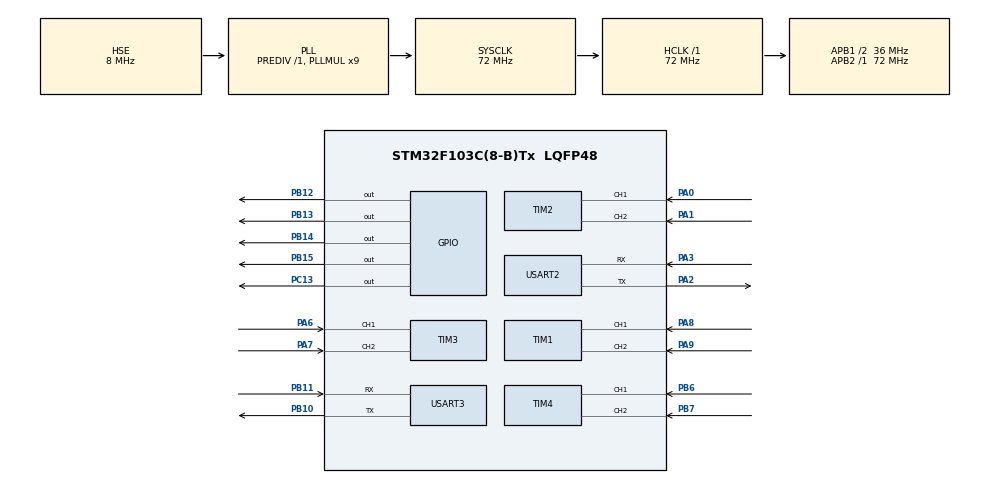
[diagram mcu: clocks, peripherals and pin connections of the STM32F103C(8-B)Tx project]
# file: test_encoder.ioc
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Mcu.Family=STM32F1
Mcu.Name=STM32F103C(8-B)Tx
Mcu.Package=LQFP48
NVIC.PriorityGroup=NVIC_PRIORITYGROUP_4
NVIC.TIM1_BRK_IRQn=true\:0\:0\:false\:false\:true\:true\:true\:true
NVIC.TIM1_CC_IRQn=true\:0\:0\:false\:false\:true\:true\:true\:true
NVIC.TIM1_TRG_COM_IRQn=true\:0\:0\:false\:false\:true\:true\:true\:true
NVIC.TIM1_UP_IRQn=true\:0\:0\:false\:false\:true\:true\:true\:true
NVIC.TIM2_IRQn=true\:0\:0\:false\:false\:true\:true\:true\:true
NVIC.TIM3_IRQn=true\:0\:0\:false\:false\:true\:true\:true\:true
NVIC.TIM4_IRQn=true\:0\:0\:false\:false\:true\:true\:true\:true
NVIC.USART2_IRQn=true\:0\:0\:false\:false\:true\:true\:true\:true
NVIC.USART3_IRQn=true\:0\:0\:false\:false\:true\:true\:true\:true
PA0-WKUP.Signal=S_TIM2_CH1_ETR
PA1.Signal=S_TIM2_CH2
PA13.Mode=Serial_Wire
PA13.Signal=SYS_JTMS-SWDIO
PA14.Mode=Serial_Wire
PA14.Signal=SYS_JTCK-SWCLK
PA2.Mode=Asynchronous
PA2.Signal=USART2_TX
PA3.Mode=Asynchronous
PA3.Signal=USART2_RX
PA6.Signal=S_TIM3_CH1
PA7.Signal=S_TIM3_CH2
PA8.Signal=S_TIM1_CH1
PA9.Signal=S_TIM1_CH2
PB10.Mode=Asynchronous
PB10.Signal=USART3_TX
PB11.Mode=Asynchronous
PB11.Signal=USART3_RX
PB12.Signal=GPIO_Output
PB13.Signal=GPIO_Output
PB14.Signal=GPIO_Output
PB15.Signal=GPIO_Output
PB6.Signal=S_TIM4_CH1
PB7.Signal=S_TIM4_CH2
PC13-TAMPER-RTC.Signal=GPIO_Output
PD0-OSC_IN.Mode=HSE-External-Oscillator
PD0-OSC_IN.Signal=RCC_OSC_IN
PD1-OSC_OUT.Mode=HSE-External-Oscillator
PD1-OSC_OUT.Signal=RCC_OSC_OUT
ProjectManager.HeapSize=0x200
ProjectManager.StackSize=0x400
ProjectManager.TargetToolchain=STM32CubeIDE
RCC.AHBFreq_Value=72000000
RCC.APB1CLKDivider=RCC_HCLK_DIV2
RCC.APB1Freq_Value=36000000
RCC.APB1TimFreq_Value=72000000
RCC.APB2Freq_Value=72000000
RCC.APB2TimFreq_Value=72000000
RCC.HCLKFreq_Value=72000000
RCC.PLLMUL=RCC_PLL_MUL9
RCC.PLLSourceVirtual=RCC_PLLSOURCE_HSE
RCC.SYSCLKFreq_VALUE=72000000
RCC.SYSCLKSource=RCC_SYSCLKSOURCE_PLLCLK
RCC.USBFreq_Value=72000000
SH.S_TIM1_CH1.0=TIM1_CH1,Encoder_Interface
SH.S_TIM1_CH2.0=TIM1_CH2,Encoder_Interface
SH.S_TIM2_CH1_ETR.0=TIM2_CH1,Encoder_Interface
SH.S_TIM2_CH2.0=TIM2_CH2,Encoder_Interface
SH.S_TIM3_CH1.0=TIM3_CH1,Encoder_Interface
SH.S_TIM3_CH2.0=TIM3_CH2,Encoder_Interface
SH.S_TIM4_CH1.0=TIM4_CH1,Encoder_Interface
SH.S_TIM4_CH2.0=TIM4_CH2,Encoder_Interface
TIM1.EncoderMode=TIM_ENCODERMODE_TI12
TIM2.EncoderMode=TIM_ENCODERMODE_TI12
TIM3.EncoderMode=TIM_ENCODERMODE_TI12
TIM4.EncoderMode=TIM_ENCODERMODE_TI12
USART2.VirtualMode=VM_ASYNC
USART3.VirtualMode=VM_ASYNC
board=custom

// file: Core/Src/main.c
/* USER CODE BEGIN Header */
/**
  ******************************************************************************
  * @file           : main.c
  * @brief          : Main program body
  ******************************************************************************
  * @attention
  *
  * Copyright (c) 2023 STMicroelectronics.
  * All rights reserved.
  *
  * This software is licensed under terms that can be found in the LICENSE file
  * in the root directory of this software component.
  * If no LICENSE file comes with this software, it is provided AS-IS.
  *
  ******************************************************************************
  */
/* USER CODE END Header */
#include "main.h"

/* USER CODE BEGIN PTD */
typedef struct
{
	uint16_t pwm;
	uint16_t angle;
	uint32_t desired_value;
}M_axis_t;
/* USER CODE END PTD */

/* USER CODE BEGIN PD */
#define NUM_OFFSET                                   (48U)
#define LETTER_OFFSET                                (55U)
#define FRAME_SIZE                                   (26U)
/* USER CODE END PD */

TIM_HandleTypeDef htim1;
TIM_HandleTypeDef htim2;
TIM_HandleTypeDef htim3;
TIM_HandleTypeDef htim4;

UART_HandleTypeDef huart2;
UART_HandleTypeDef huart3;

/* USER CODE BEGIN PV */
uint8_t buff[50];
int idx = 0;
M_axis_t axis1 = {0};
M_axis_t axis2 = {0};
M_axis_t axis3 = {0};
M_axis_t axis4 = {0};

uint32_t counter1 = 0;
uint32_t counter2 = 0;
uint32_t counter3 = 0;
uint32_t counter4 = 0;

int16_t count1 = 0;
int16_t count2 = 0;
int16_t count3 = 0;
int16_t count4 = 0;
/* USER CODE END PV */

void SystemClock_Config(void);
static void MX_GPIO_Init(void);
static void MX_TIM2_Init(void);
static void MX_TIM1_Init(void);
static void MX_TIM3_Init(void);
static void MX_TIM4_Init(void);
static void MX_USART2_UART_Init(void);
static void MX_USART3_UART_Init(void);

/* USER CODE BEGIN 0 */

static uint32_t stringToDec(char *data, int size)
{
    int i = 0;
    int j = 0;
    uint32_t decNum = 0;
    /*Convert all data to hex*/
    for (i = 0; i < size; i++)
    {
        if ((*(data + i) >= '0') && (*(data + i) <= '9'))
            *(data + i) = *(data + i) - 48;
        else if ((*(data + i) >= 'A') && (*(data + i) <= 'F'))
            *(data + i) = *(data + i) - 55;
        else
        {
            return 0;
        }
    }
    while (size--)
    {
        decNum += *(data + size) * (uint32_t)pow(10,j);
        j++;
    }
    return decNum;
}
static void pwm_handler(TIM_HandleTypeDef *htim, M_axis_t *axis, uint8_t axis_num, uint16_t encoder_val)
{
	uint16_t axis_pin_num = 0;
	/*PB12,13,14,15*/
/*PWM*/
//			HAL_TIM_PWM_Start (&htim1, TIM_CHANNEL_2);
//		/*1300 ~ 360 degree*/
//		if (desired_value != 0)
//		{
//				if(encoder_cnt > desired_value)
//				{
//					encoder_pre_cnt = encoder_cnt;

//					__HAL_TIM_SET_COMPARE(&htim1,TIM_CHANNEL_2,0);
//					desired_value = 0;
//					__HAL_TIM_SET_COUNTER(&htim2, 0);
//				}
//				else
//				{
//					__HAL_TIM_SET_COMPARE(&htim1,TIM_CHANNEL_2,50);
//				}
//		}
	switch (axis_num) {
		case 1:
			axis_pin_num = GPIO_PIN_12;
			break;
		case 2:
			axis_pin_num = GPIO_PIN_13;
			break;
		case 3:
			axis_pin_num = GPIO_PIN_14;
			break;
		case 4:
			axis_pin_num = GPIO_PIN_15;
			break;
		default:
			break;
	}

	HAL_GPIO_WritePin(GPIOB, axis_pin_num, SET);

	/*1300 ~ 360 degree*/
	if (axis->desired_value != 0)
	{
			if(encoder_val > axis->desired_value)
			{
//				encoder_pre_cnt = encoder_cnt;

				HAL_GPIO_WritePin(GPIOB,axis_pin_num, RESET);
				axis->desired_value = 0;
				__HAL_TIM_SET_COUNTER(htim, 0);
			}
			else
			{
				HAL_GPIO_WritePin(GPIOB,axis_pin_num, SET);
			}
	}
}
void HAL_TIM_IC_CaptureCallback(TIM_HandleTypeDef *htim)
{
	if(htim == &htim1){
			counter1 = __HAL_TIM_GET_COUNTER(htim);
			count1 = (int16_t)counter1;
		}
	else if(htim == &htim2){
		counter2 = __HAL_TIM_GET_COUNTER(htim);
		count2 = (int16_t)counter2;
	}
	else if(htim == &htim3){
			counter3 = __HAL_TIM_GET_COUNTER(htim);
			count3 = (int16_t)counter3;
		}
	else if(htim == &htim4){
			counter4 = __HAL_TIM_GET_COUNTER(htim);
			count4 = (int16_t)counter4;
		}

}

void HAL_UART_RxCpltCallback(UART_HandleTypeDef *huart)
{

	if(huart->Instance == huart3.Instance)
	{

		HAL_UART_Receive_IT(&huart3, buff, FRAME_SIZE);

	}
}
/* USER CODE END 0 */

int main(void)
{
  /* USER CODE BEGIN 1 */
	volatile short encoder_cnt =0, encoder_cnt1 = 0, encoder_cnt2 = 0, encoder_pre_cnt = 0, encoder_offset = 0;
	uint8_t arr[] = "\rhello\n";
	uint32_t axis_angle = 0;
	uint32_t desired_value = 0;
  /* USER CODE END 1 */

  /* MCU Configuration--------------------------------------------------------*/

  /* Reset of all peripherals, Initializes the Flash interface and the Systick. */
  HAL_Init();

  /* Configure the system clock */
  SystemClock_Config();

  /* Initialize all configured peripherals */
  MX_GPIO_Init();
  MX_TIM2_Init();
  MX_TIM1_Init();
  MX_TIM3_Init();
  MX_TIM4_Init();
  MX_USART2_UART_Init();
  MX_USART3_UART_Init();
  /* USER CODE BEGIN 2 */
	HAL_TIM_Encoder_Start_IT(&htim1, TIM_CHANNEL_1 | TIM_CHANNEL_2);
	HAL_TIM_Encoder_Start_IT(&htim2, TIM_CHANNEL_1 | TIM_CHANNEL_2);
	HAL_TIM_Encoder_Start_IT(&htim3, TIM_CHANNEL_1 | TIM_CHANNEL_2);
	HAL_TIM_Encoder_Start_IT(&htim4, TIM_CHANNEL_1 | TIM_CHANNEL_2);
	HAL_UART_Transmit(&huart3,arr,sizeof(arr), 100);
	HAL_UART_Receive_IT(&huart3, buff, FRAME_SIZE);
//  idx++;
//	__HAL_TIM_SET_COMPARE(&htim1,TIM_CHANNEL_2,0);
  /* USER CODE END 2 */
//	HAL_GPIO_WritePin(GPIOC,GPIO_PIN_13, RESET);

  /* Infinite loop */
  /* USER CODE BEGIN WHILE */
  while (1)
  {
	    /*Receive and parse frame*/
		if((0xAB == buff[0]) && (0xFF == buff[FRAME_SIZE - 1]) )
		{
			axis1.pwm = stringToDec((char*)buff + 1, 3);
			axis1.angle = stringToDec((char*)buff + 4, 3);
			axis1.desired_value = (uint32_t)(axis1.angle * 3.61111111111);

			axis2.pwm = stringToDec((char*)buff + 7, 3);
			axis2.angle = stringToDec((char*)buff + 10, 3);
			axis2.desired_value = (uint32_t)(axis2.angle * 3.61111111111);

			axis3.pwm = stringToDec((char*)buff + 13, 3);
			axis3.angle = stringToDec((char*)buff + 16, 3);
			axis3.desired_value = (uint32_t)(axis3.angle * 3.61111111111);

			axis4.pwm = stringToDec((char*)buff + 19, 3);
			axis4.angle = stringToDec((char*)buff + 22, 3);
			axis4.desired_value = (uint32_t)(axis4.angle * 3.61111111111);
			/*1300 = 360 deg */
	   	/*desired_value ~ axis_angle */
//			desired_value = (uint32_t)(axis_angle * 3.61111111111);
			memset(buff, 0, 50);
		}
    /*PWM*/
//			HAL_TIM_PWM_Start (&htim1, TIM_CHANNEL_2);
//		/*1300 ~ 360 degree*/
//		if (desired_value != 0)
//		{
//				if(encoder_cnt > desired_value)
//				{
//					encoder_pre_cnt = encoder_cnt;

//					__HAL_TIM_SET_COMPARE(&htim1,TIM_CHANNEL_2,0);
//					desired_value = 0;
//					__HAL_TIM_SET_COUNTER(&htim2, 0);
//				}
//				else
//				{
//					__HAL_TIM_SET_COMPARE(&htim1,TIM_CHANNEL_2,50);
//				}
//		}

//		pwm_handler(&htim1, &axis1, 1, count1);
//		if(axis2.angle)
//		{
//			pwm_handler(&htim2, &axis2, 2, count2);
//		}

		if(axis2.angle > 0)
		{
			HAL_GPIO_WritePin(GPIOB, GPIO_PIN_13, SET);
		/*1300 ~ 360 degree*/
			if (axis2.desired_value != 0)
			{
					if(count2 > axis2.desired_value)
					{
		//				encoder_pre_cnt = encoder_cnt;

						HAL_GPIO_WritePin(GPIOB, GPIO_PIN_13, RESET);
						axis2.desired_value = 0;
						__HAL_TIM_SET_COUNTER(&htim2, 0);
					}
					else
					{
						HAL_GPIO_WritePin(GPIOB, GPIO_PIN_13, SET);
					}
			}
		}
//		pwm_handler(&htim3, &axis3, count3);
//		pwm_handler(&htim3, &axis4, count4);
//		encoder_cnt =  __HAL_TIM_GET_COUNTER(&htim2);
//		encoder_cnt1 =  __HAL_TIM_GET_COUNTER(&htim3);
//		encoder_cnt2 = __HAL_TIM_GET_COUNTER(&htim1);

    /* USER CODE END WHILE */

  }
}

void SystemClock_Config(void)
{
  RCC_OscInitTypeDef RCC_OscInitStruct = {0};
  RCC_ClkInitTypeDef RCC_ClkInitStruct = {0};

  /** Initializes the RCC Oscillators according to the specified parameters
  * in the RCC_OscInitTypeDef structure.
  */
  RCC_OscInitStruct.OscillatorType = RCC_OSCILLATORTYPE_HSE;
  RCC_OscInitStruct.HSEState = RCC_HSE_ON;
  RCC_OscInitStruct.HSEPredivValue = RCC_HSE_PREDIV_DIV1;
  RCC_OscInitStruct.HSIState = RCC_HSI_ON;
  RCC_OscInitStruct.PLL.PLLState = RCC_PLL_ON;
  RCC_OscInitStruct.PLL.PLLSource = RCC_PLLSOURCE_HSE;
  RCC_OscInitStruct.PLL.PLLMUL = RCC_PLL_MUL9;
  if (HAL_RCC_OscConfig(&RCC_OscInitStruct) != HAL_OK)
  {
    Error_Handler();
  }

  /** Initializes the CPU, AHB and APB buses clocks
  */
  RCC_ClkInitStruct.ClockType = RCC_CLOCKTYPE_HCLK|RCC_CLOCKTYPE_SYSCLK
                              |RCC_CLOCKTYPE_PCLK1|RCC_CLOCKTYPE_PCLK2;
  RCC_ClkInitStruct.SYSCLKSource = RCC_SYSCLKSOURCE_PLLCLK;
  RCC_ClkInitStruct.AHBCLKDivider = RCC_SYSCLK_DIV1;
  RCC_ClkInitStruct.APB1CLKDivider = RCC_HCLK_DIV2;
  RCC_ClkInitStruct.APB2CLKDivider = RCC_HCLK_DIV1;

  if (HAL_RCC_ClockConfig(&RCC_ClkInitStruct, FLASH_LATENCY_2) != HAL_OK)
  {
    Error_Handler();
  }
}

static void MX_TIM1_Init(void)
{

  TIM_Encoder_InitTypeDef sConfig = {0};
  TIM_MasterConfigTypeDef sMasterConfig = {0};

  htim1.Instance = TIM1;
  htim1.Init.Prescaler = 0;
  htim1.Init.CounterMode = TIM_COUNTERMODE_UP;
  htim1.Init.Period = 65535;
  htim1.Init.ClockDivision = TIM_CLOCKDIVISION_DIV1;
  htim1.Init.RepetitionCounter = 0;
  htim1.Init.AutoReloadPreload = TIM_AUTORELOAD_PRELOAD_DISABLE;
  sConfig.EncoderMode = TIM_ENCODERMODE_TI12;
  sConfig.IC1Polarity = TIM_ICPOLARITY_RISING;
  sConfig.IC1Selection = TIM_ICSELECTION_DIRECTTI;
  sConfig.IC1Prescaler = TIM_ICPSC_DIV1;
  sConfig.IC1Filter = 0;
  sConfig.IC2Polarity = TIM_ICPOLARITY_RISING;
  sConfig.IC2Selection = TIM_ICSELECTION_DIRECTTI;
  sConfig.IC2Prescaler = TIM_ICPSC_DIV1;
  sConfig.IC2Filter = 0;
  if (HAL_TIM_Encoder_Init(&htim1, &sConfig) != HAL_OK)
  {
    Error_Handler();
  }
  sMasterConfig.MasterOutputTrigger = TIM_TRGO_RESET;
  sMasterConfig.MasterSlaveMode = TIM_MASTERSLAVEMODE_DISABLE;
  if (HAL_TIMEx_MasterConfigSynchronization(&htim1, &sMasterConfig) != HAL_OK)
  {
    Error_Handler();
  }

}

static void MX_TIM2_Init(void)
{

  TIM_Encoder_InitTypeDef sConfig = {0};
  TIM_MasterConfigTypeDef sMasterConfig = {0};

  htim2.Instance = TIM2;
  htim2.Init.Prescaler = 0;
  htim2.Init.CounterMode = TIM_COUNTERMODE_UP;
  htim2.Init.Period = 65535;
  htim2.Init.ClockDivision = TIM_CLOCKDIVISION_DIV1;
  htim2.Init.AutoReloadPreload = TIM_AUTORELOAD_PRELOAD_DISABLE;
  sConfig.EncoderMode = TIM_ENCODERMODE_TI12;
  sConfig.IC1Polarity = TIM_ICPOLARITY_RISING;
  sConfig.IC1Selection = TIM_ICSELECTION_DIRECTTI;
  sConfig.IC1Prescaler = TIM_ICPSC_DIV1;
  sConfig.IC1Filter = 0;
  sConfig.IC2Polarity = TIM_ICPOLARITY_RISING;
  sConfig.IC2Selection = TIM_ICSELECTION_DIRECTTI;
  sConfig.IC2Prescaler = TIM_ICPSC_DIV1;
  sConfig.IC2Filter = 0;
  if (HAL_TIM_Encoder_Init(&htim2, &sConfig) != HAL_OK)
  {
    Error_Handler();
  }
  sMasterConfig.MasterOutputTrigger = TIM_TRGO_RESET;
  sMasterConfig.MasterSlaveMode = TIM_MASTERSLAVEMODE_DISABLE;
  if (HAL_TIMEx_MasterConfigSynchronization(&htim2, &sMasterConfig) != HAL_OK)
  {
    Error_Handler();
  }

}

static void MX_TIM3_Init(void)
{

  TIM_Encoder_InitTypeDef sConfig = {0};
  TIM_MasterConfigTypeDef sMasterConfig = {0};

  htim3.Instance = TIM3;
  htim3.Init.Prescaler = 0;
  htim3.Init.CounterMode = TIM_COUNTERMODE_UP;
  htim3.Init.Period = 65535;
  htim3.Init.ClockDivision = TIM_CLOCKDIVISION_DIV1;
  htim3.Init.AutoReloadPreload = TIM_AUTORELOAD_PRELOAD_DISABLE;
  sConfig.EncoderMode = TIM_ENCODERMODE_TI12;
  sConfig.IC1Polarity = TIM_ICPOLARITY_RISING;
  sConfig.IC1Selection = TIM_ICSELECTION_DIRECTTI;
  sConfig.IC1Prescaler = TIM_ICPSC_DIV1;
  sConfig.IC1Filter = 0;
  sConfig.IC2Polarity = TIM_ICPOLARITY_RISING;
  sConfig.IC2Selection = TIM_ICSELECTION_DIRECTTI;
  sConfig.IC2Prescaler = TIM_ICPSC_DIV1;
  sConfig.IC2Filter = 0;
  if (HAL_TIM_Encoder_Init(&htim3, &sConfig) != HAL_OK)
  {
    Error_Handler();
  }
  sMasterConfig.MasterOutputTrigger = TIM_TRGO_RESET;
  sMasterConfig.MasterSlaveMode = TIM_MASTERSLAVEMODE_DISABLE;
  if (HAL_TIMEx_MasterConfigSynchronization(&htim3, &sMasterConfig) != HAL_OK)
  {
    Error_Handler();
  }

}

static void MX_TIM4_Init(void)
{

  TIM_Encoder_InitTypeDef sConfig = {0};
  TIM_MasterConfigTypeDef sMasterConfig = {0};

  htim4.Instance = TIM4;
  htim4.Init.Prescaler = 0;
  htim4.Init.CounterMode = TIM_COUNTERMODE_UP;
  htim4.Init.Period = 65535;
  htim4.Init.ClockDivision = TIM_CLOCKDIVISION_DIV1;
  htim4.Init.AutoReloadPreload = TIM_AUTORELOAD_PRELOAD_DISABLE;
  sConfig.EncoderMode = TIM_ENCODERMODE_TI12;
  sConfig.IC1Polarity = TIM_ICPOLARITY_RISING;
  sConfig.IC1Selection = TIM_ICSELECTION_DIRECTTI;
  sConfig.IC1Prescaler = TIM_ICPSC_DIV1;
  sConfig.IC1Filter = 0;
  sConfig.IC2Polarity = TIM_ICPOLARITY_RISING;
  sConfig.IC2Selection = TIM_ICSELECTION_DIRECTTI;
  sConfig.IC2Prescaler = TIM_ICPSC_DIV1;
  sConfig.IC2Filter = 0;
  if (HAL_TIM_Encoder_Init(&htim4, &sConfig) != HAL_OK)
  {
    Error_Handler();
  }
  sMasterConfig.MasterOutputTrigger = TIM_TRGO_RESET;
  sMasterConfig.MasterSlaveMode = TIM_MASTERSLAVEMODE_DISABLE;
  if (HAL_TIMEx_MasterConfigSynchronization(&htim4, &sMasterConfig) != HAL_OK)
  {
    Error_Handler();
  }

}

static void MX_USART2_UART_Init(void)
{

  huart2.Instance = USART2;
  huart2.Init.BaudRate = 115200;
  huart2.Init.WordLength = UART_WORDLENGTH_8B;
  huart2.Init.StopBits = UART_STOPBITS_1;
  huart2.Init.Parity = UART_PARITY_NONE;
  huart2.Init.Mode = UART_MODE_TX_RX;
  huart2.Init.HwFlowCtl = UART_HWCONTROL_NONE;
  huart2.Init.OverSampling = UART_OVERSAMPLING_16;
  if (HAL_UART_Init(&huart2) != HAL_OK)
  {
    Error_Handler();
  }

}

static void MX_USART3_UART_Init(void)
{

  huart3.Instance = USART3;
  huart3.Init.BaudRate = 115200;
  huart3.Init.WordLength = UART_WORDLENGTH_8B;
  huart3.Init.StopBits = UART_STOPBITS_1;
  huart3.Init.Parity = UART_PARITY_NONE;
  huart3.Init.Mode = UART_MODE_TX_RX;
  huart3.Init.HwFlowCtl = UART_HWCONTROL_NONE;
  huart3.Init.OverSampling = UART_OVERSAMPLING_16;
  if (HAL_UART_Init(&huart3) != HAL_OK)
  {
    Error_Handler();
  }

}

static void MX_GPIO_Init(void)
{
  GPIO_InitTypeDef GPIO_InitStruct = {0};

  /* GPIO Ports Clock Enable */
  __HAL_RCC_GPIOC_CLK_ENABLE();
  __HAL_RCC_GPIOD_CLK_ENABLE();
  __HAL_RCC_GPIOA_CLK_ENABLE();
  __HAL_RCC_GPIOB_CLK_ENABLE();

  /*Configure GPIO pin Output Level */
  HAL_GPIO_WritePin(GPIOC, GPIO_PIN_13, GPIO_PIN_RESET);

  /*Configure GPIO pin Output Level */
  HAL_GPIO_WritePin(GPIOB, GPIO_PIN_12|GPIO_PIN_13|GPIO_PIN_14|GPIO_PIN_15, GPIO_PIN_RESET);

  /*Configure GPIO pin : PC13 */
  GPIO_InitStruct.Pin = GPIO_PIN_13;
  GPIO_InitStruct.Mode = GPIO_MODE_OUTPUT_PP;
  GPIO_InitStruct.Pull = GPIO_NOPULL;
  GPIO_InitStruct.Speed = GPIO_SPEED_FREQ_LOW;
  HAL_GPIO_Init(GPIOC, &GPIO_InitStruct);

  /*Configure GPIO pins : PB12 PB13 PB14 PB15 */
  GPIO_InitStruct.Pin = GPIO_PIN_12|GPIO_PIN_13|GPIO_PIN_14|GPIO_PIN_15;
  GPIO_InitStruct.Mode = GPIO_MODE_OUTPUT_PP;
  GPIO_InitStruct.Pull = GPIO_NOPULL;
  GPIO_InitStruct.Speed = GPIO_SPEED_FREQ_LOW;
  HAL_GPIO_Init(GPIOB, &GPIO_InitStruct);

}

void Error_Handler(void)
{
  __disable_irq();
  while (1)
  {
  }
}
